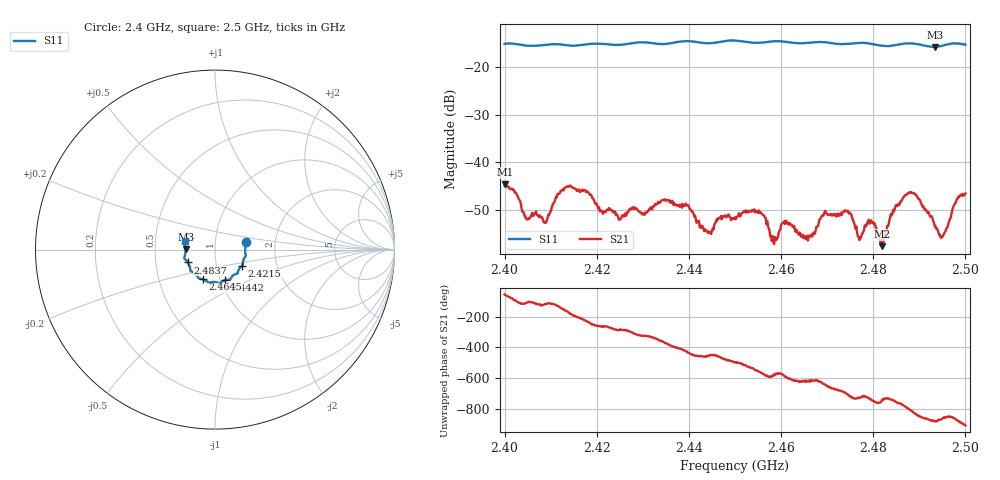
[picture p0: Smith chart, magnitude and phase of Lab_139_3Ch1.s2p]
# Hz S RI R 50
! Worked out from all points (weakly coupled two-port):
!   601 points, 2.4 GHz to 2.5 GHz, reference 50 ohm
!   highest |S21| = -44.61 dB at 2.4002 GHz (marker M1); lowest = -57.6 dB at 2.482 GHz (marker M2)
!   lowest |S11| = -15.7 dB at 2.4935 GHz (marker M3), VSWR 1.39, Z = 35.9 + j0.276 ohm
!   |S11| at or under -10 dB: start of sweep to end of sweep
!   S12 and S22 are empty: the file has one direction only
!   S11 on the Smith chart (normalised r, x): 2.4 GHz: 1.41, +0.12; 2.4215 GHz: 1.33, -0.25; 2.4442 GHz: 1.05, -0.37; 2.4645 GHz: 0.83, -0.29; 2.4837 GHz: 0.73, -0.11; 2.5 GHz: 0.71, +0.07
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2.4e9  0.1714 0.0403  0.003 -0.00482  0 0  0 0
2.400167e9  0.1719 0.0401  0.00279 -0.00518  0 0  0 0
2.408833e9  0.1697 -0.0248  -0.00116 -0.00203  0 0  0 0
2.412667e9  0.1676 -0.0407  -0.00462 -0.00249  0 0  0 0
2.416667e9  0.1565 -0.0698  -0.00409 0.00279  0 0  0 0
2.4215e9  0.1513 -0.0897  -0.000421 0.00303  0 0  0 0
2.433333e9  0.1083 -0.1385  0.00377 0.00074  0 0  0 0
2.439667e9  0.0837 -0.1685  0.0011 -0.00336  0 0  0 0
2.444167e9  0.0566 -0.1695  -0.000249 -0.00179  0 0  0 0
2.45e9  0.0251 -0.1892  -0.00186 -0.00187  0 0  0 0
2.4645e9  -0.0658 -0.1659  -0.000233 0.00163  0 0  0 0
2.466667e9  -0.0826 -0.1621  -0.000407 0.00161  0 0  0 0
2.474e9  -0.1148 -0.1323  0.0028 0.00123  0 0  0 0
2.477e9  -0.1351 -0.1196  0.00151 -0.000101  0 0  0 0
2.4795e9  -0.1383 -0.1095  0.00237 -0.000646  0 0  0 0
2.482e9  -0.1422 -0.0896  0.00126 -0.000367  0 0  0 0
2.483333e9  -0.1489 -0.0751  0.00217 -0.000329  0 0  0 0
2.483667e9  -0.1511 -0.0717  0.00254 -0.000701  0 0  0 0
2.488333e9  -0.1714 -0.0471  4.29e-05 -0.00479  0 0  0 0
2.4935e9  -0.1635 0.00373  -0.00196 -0.000868  0 0  0 0
2.495167e9  -0.1676 0.0224  -0.00121 -0.00119  0 0  0 0
2.5e9  -0.1652 0.0503  -0.00469 0.000313  0 0  0 0
